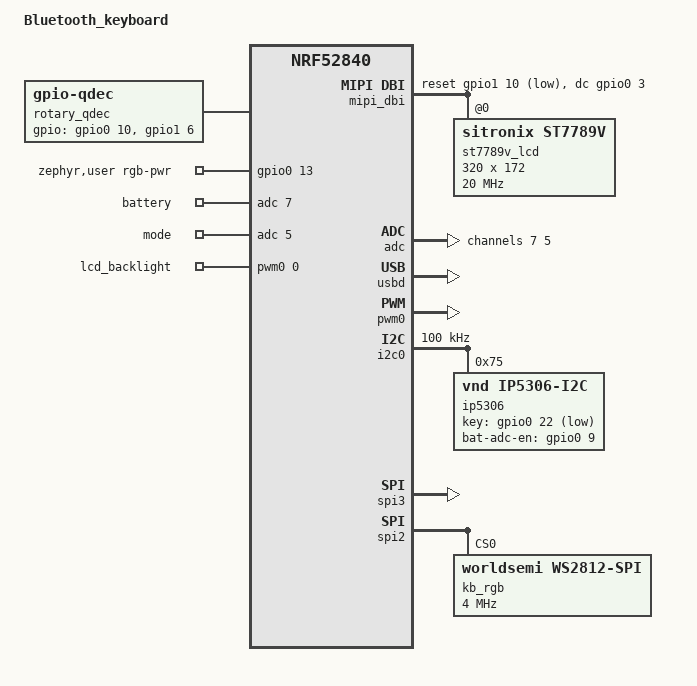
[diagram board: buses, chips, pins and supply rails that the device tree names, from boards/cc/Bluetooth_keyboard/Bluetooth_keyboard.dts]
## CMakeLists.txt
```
cmake_minimum_required(VERSION 3.20.0)
find_package(Zephyr REQUIRED HINTS $ENV{ZEPHYR_BASE})

project(Bluetooth_keyboard)

zephyr_include_directories(${CMAKE_CURRENT_SOURCE_DIR})

target_sources(app PRIVATE
    src/ble_hid_module.c
    src/ble_host_action_service.c
    src/custom_action_layer.c
    src/display_assets.c
    src/display_module.c
    src/key_matrix.c
    src/keymap.c
    src/main.c
    src/mode_event.c
    src/mode_switch.c
    src/power_trace.c
    src/power_module.c
    src/rgb_led.c
    src/rotary.c
    src/transport_manager.c
    src/usb_hid_module.c
    src/usb_host_proto.c
)
```

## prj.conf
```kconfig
CONFIG_GPIO=y
CONFIG_INPUT=y
CONFIG_INPUT_GPIO_QDEC=y
CONFIG_I2C=y
CONFIG_ADC=y
CONFIG_SPI=y
CONFIG_PWM=y
CONFIG_LED_STRIP=y
CONFIG_DISPLAY=y
CONFIG_ST7789V=y
CONFIG_WS2812_STRIP_SPI=y
CONFIG_BT=y
CONFIG_BT_ATT_TX_COUNT=5
CONFIG_BT_AUTO_PHY_UPDATE=n
CONFIG_BT_BAS=y
CONFIG_BT_CONN_CTX=y
CONFIG_BT_DEVICE_APPEARANCE=961
CONFIG_BT_DEVICE_NAME="SGG Keyboard"
CONFIG_BT_DIS=y
CONFIG_BT_DIS_MANUF_NAME=y
CONFIG_BT_DIS_MANUF_NAME_STR="SGG"
CONFIG_BT_DIS_MODEL_NUMBER=y
CONFIG_BT_DIS_MODEL_NUMBER_STR="Bluetooth Keyboard"
CONFIG_BT_FILTER_ACCEPT_LIST=y
CONFIG_BT_GATT_AUTO_SEC_REQ=n
CONFIG_BT_GATT_CHRC_POOL_SIZE=20
CONFIG_BT_GATT_UUID16_POOL_SIZE=40
CONFIG_BT_HIDS=y
CONFIG_BT_HIDS_DEFAULT_PERM_RW_ENCRYPT=y
CONFIG_BT_HIDS_FEATURE_REP_MAX=0
CONFIG_BT_HIDS_INPUT_REP_MAX=2
CONFIG_BT_HIDS_MAX_CLIENT_COUNT=1
CONFIG_BT_HIDS_OUTPUT_REP_MAX=1
CONFIG_BT_MAX_CONN=1
CONFIG_BT_MAX_PAIRED=1
CONFIG_BT_PERIPHERAL=y
CONFIG_BT_SETTINGS=y
CONFIG_BT_SMP=y
CONFIG_BT_ADV_PROV=y
CONFIG_BT_ADV_PROV_SWIFT_PAIR=y
CONFIG_SERIAL=y
CONFIG_UART_INTERRUPT_DRIVEN=y
CONFIG_UART_LINE_CTRL=y
CONFIG_USB_DEVICE_STACK_NEXT=y
CONFIG_USBD_CDC_ACM_CLASS=y
CONFIG_CDC_ACM_SERIAL_INITIALIZE_AT_BOOT=n
CONFIG_USBD_HID_SUPPORT=y
CONFIG_CONSOLE=y
CONFIG_PRINTK=y
CONFIG_LOG=y
CONFIG_LOG_BACKEND_RTT=y
CONFIG_USE_SEGGER_RTT=y
CONFIG_RTT_CONSOLE=y
CONFIG_UART_CONSOLE=n
CONFIG_REBOOT=y
CONFIG_HEAP_MEM_POOL_SIZE=2048
CONFIG_FLASH=y
CONFIG_FLASH_MAP=y
CONFIG_FLASH_PAGE_LAYOUT=y
CONFIG_MAIN_STACK_SIZE=4096
CONFIG_NVS=y
CONFIG_APP_EVENT_MANAGER=y
CONFIG_APP_EVENT_MANAGER_SHOW_EVENTS=n
CONFIG_CAF=y
CONFIG_CAF_BUTTON_EVENTS=y
CONFIG_CAF_KEEP_ALIVE_EVENTS=y
CONFIG_CAF_MODULE_STATE_EVENTS=y
CONFIG_CAF_PM_EVENTS=y
CONFIG_CAF_POWER_MANAGER=y
CONFIG_CAF_POWER_MANAGER_TIMEOUT=60
CONFIG_CAF_POWER_MANAGER_STAY_ON=y
CONFIG_SETTINGS=y
CONFIG_SETTINGS_NVS=y
CONFIG_SYSTEM_WORKQUEUE_STACK_SIZE=3072
CONFIG_USBD_CDC_ACM_LOG_LEVEL_OFF=y
```

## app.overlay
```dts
/ {
	hid_dev_0: hid_dev_0 {
		compatible = "zephyr,hid-device";
		label = "HID0";
		protocol-code = "keyboard";
		in-report-size = <16>;
		in-polling-period-us = <1000>;
	};

	kbd_matrix: kbd-matrix {
		compatible = "gpio-kbd-matrix";
		status = "disabled";
		row-gpios = <&gpio0 15 (GPIO_PULL_UP | GPIO_ACTIVE_LOW)>,
			    <&gpio0 7 (GPIO_PULL_UP | GPIO_ACTIVE_LOW)>,
			    <&gpio0 12 (GPIO_PULL_UP | GPIO_ACTIVE_LOW)>,
			    <&gpio0 4 (GPIO_PULL_UP | GPIO_ACTIVE_LOW)>,
			    <&gpio1 9 (GPIO_PULL_UP | GPIO_ACTIVE_LOW)>,
			    <&gpio0 8 (GPIO_PULL_UP | GPIO_ACTIVE_LOW)>;
		col-gpios = <&gpio0 5 GPIO_ACTIVE_LOW>,
			    <&gpio0 6 GPIO_ACTIVE_LOW>,
			    <&gpio0 26 GPIO_ACTIVE_LOW>,
			    <&gpio0 30 GPIO_ACTIVE_LOW>;
		debounce-down-ms = <5>;
		debounce-up-ms = <10>;
		poll-period-ms = <5>;
		poll-timeout-ms = <0>;
		idle-mode = "scan";
		settle-time-us = <50>;
	};
};

&usbd {
	cdc_acm_uart0: cdc_acm_uart0 {
		compatible = "zephyr,cdc-acm-uart";
		label = "SGG Host Protocol";
	};
};
```

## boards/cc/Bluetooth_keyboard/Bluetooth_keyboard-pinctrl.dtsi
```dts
&pinctrl {
	i2c0_default: i2c0_default {
		group1 {
			psels = <NRF_PSEL(TWIM_SDA, 1, 0)>,
				<NRF_PSEL(TWIM_SCL, 0, 24)>;
		};
	};

	i2c0_sleep: i2c0_sleep {
		group1 {
			psels = <NRF_PSEL(TWIM_SDA, 1, 0)>,
				<NRF_PSEL(TWIM_SCL, 0, 24)>;
			low-power-enable;
		};
	};

	spi3_default: spi3_default {
		group1 {
			psels = <NRF_PSEL(SPIM_SCK, 1, 13)>,
				<NRF_PSEL(SPIM_MOSI, 0, 28)>;
		};
	};

	spi3_sleep: spi3_sleep {
		group1 {
			psels = <NRF_PSEL(SPIM_SCK, 1, 13)>,
				<NRF_PSEL(SPIM_MOSI, 0, 28)>;
			low-power-enable;
		};
	};

	spi2_rgb_default: spi2_rgb_default {
		group1 {
			psels = <NRF_PSEL(SPIM_SCK, 1, 15)>,
				<NRF_PSEL(SPIM_MOSI, 0, 20)>;
		};
	};

	spi2_rgb_sleep: spi2_rgb_sleep {
		group1 {
			psels = <NRF_PSEL(SPIM_SCK, 1, 15)>,
				<NRF_PSEL(SPIM_MOSI, 0, 20)>;
			low-power-enable;
		};
	};

	pwm0_default: pwm0_default {
		group1 {
			psels = <NRF_PSEL(PWM_OUT0, 1, 11)>;
		};
	};

	pwm0_sleep: pwm0_sleep {
		group1 {
			psels = <NRF_PSEL(PWM_OUT0, 1, 11)>;
			low-power-enable;
		};
	};
};
```

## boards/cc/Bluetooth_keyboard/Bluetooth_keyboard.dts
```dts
/dts-v1/;
#include <nordic/nrf52840_qiaa.dtsi>
#include "Bluetooth_keyboard-pinctrl.dtsi"
#include <zephyr/dt-bindings/input/input-event-codes.h>
#include <zephyr/dt-bindings/adc/adc.h>
#include <zephyr/dt-bindings/led/led.h>
#include <zephyr/dt-bindings/mipi_dbi/mipi_dbi.h>
#include <zephyr/dt-bindings/pwm/pwm.h>

/ {
	model = "Bluetooth_keyboard";
	compatible = "cc,Bluetooth-keyboard";

	chosen {
		zephyr,sram = &sram0;
		zephyr,flash = &flash0;
		zephyr,code-partition = &slot0_partition;
		zephyr,display = &st7789v_lcd;
		zephyr,led-strip = &kb_rgb;
	};

	rotary_qdec: rotary-qdec {
		compatible = "gpio-qdec";
		gpios = <&gpio0 10 (GPIO_PULL_UP | GPIO_ACTIVE_HIGH)>,
			<&gpio1 6 (GPIO_PULL_UP | GPIO_ACTIVE_HIGH)>;
		steps-per-period = <2>;
		zephyr,axis = <INPUT_REL_WHEEL>;
		sample-time-us = <2000>;
		idle-poll-time-us = <2000>;
		idle-timeout-ms = <200>;
		status = "okay";
	};

	zephyr,user {
		io-channels = <&adc 7>, <&adc 5>;
		io-channel-names = "battery", "mode";
		pwms = <&pwm0 0 PWM_USEC(50) PWM_POLARITY_INVERTED>;
		pwm-names = "lcd_backlight";
		rgb-pwr-gpios = <&gpio0 13 GPIO_ACTIVE_HIGH>;
	};

	mipi_dbi {
		compatible = "zephyr,mipi-dbi-spi";
		spi-dev = <&spi3>;
		dc-gpios = <&gpio0 3 GPIO_ACTIVE_HIGH>;
		reset-gpios = <&gpio1 10 GPIO_ACTIVE_LOW>;
		write-only;
		#address-cells = <1>;
		#size-cells = <0>;

		st7789v_lcd: st7789v@0 {
			compatible = "sitronix,st7789v";
			reg = <0>;
			mipi-max-frequency = <DT_FREQ_M(20)>;
			width = <320>;
			height = <172>;
			x-offset = <0>;
			y-offset = <34>;
			vcom = <0x2b>;
			gctrl = <0x35>;
			vrhs = <0x0f>;
			vdvs = <0x20>;
			mdac = <0xa0>;
			gamma = <0x01>;
			colmod = <0x55>;
			lcm = <0x2c>;
			porch-param = [0c 0c 00 33 33];
			cmd2en-param = [5a 69 02 01];
			pwctrl1-param = [52 a1];
			pvgam-param = [d0 00 02 07 0b 1a 31 54 40 29 12 12 12 17];
			nvgam-param = [d0 00 02 07 05 15 2d 44 44 1c 18 16 1c 1d];
			ram-param = [00 f8];
			rgb-param = [cd 08 14];
			ready-time-ms = <120>;
			mipi-mode = "MIPI_DBI_MODE_SPI_4WIRE";
		};
	};
};

&uicr {
	nfct-pins-as-gpios;
};

&flash0 {
	partitions {
		compatible = "fixed-partitions";
		#address-cells = <1>;
		#size-cells = <1>;

		boot_partition: partition@0 {
			label = "mcuboot";
			reg = <0x00000000 DT_SIZE_K(48)>;
		};

		slot0_partition: partition@c000 {
			label = "image-0";
			reg = <0x0000c000 DT_SIZE_K(472)>;
		};

		slot1_partition: partition@82000 {
			label = "image-1";
			reg = <0x00082000 DT_SIZE_K(472)>;
		};

		storage_partition: partition@f8000 {
			label = "storage";
			reg = <0x000f8000 DT_SIZE_K(32)>;
		};
	};
};

&gpiote {
	status = "okay";
};

&adc {
	#address-cells = <1>;
	#size-cells = <0>;
	status = "okay";

	channel@7 {
		reg = <7>;
		zephyr,gain = "ADC_GAIN_1_6";
		zephyr,reference = "ADC_REF_INTERNAL";
		zephyr,acquisition-time = <ADC_ACQ_TIME(ADC_ACQ_TIME_MICROSECONDS, 40)>;
		zephyr,input-positive = <NRF_SAADC_AIN7>;
		zephyr,resolution = <12>;
		zephyr,oversampling = <4>;
	};

	channel@5 {
		reg = <5>;
		zephyr,gain = "ADC_GAIN_1_6";
		zephyr,reference = "ADC_REF_INTERNAL";
		zephyr,acquisition-time = <ADC_ACQ_TIME(ADC_ACQ_TIME_MICROSECONDS, 40)>;
		zephyr,input-positive = <NRF_SAADC_AIN5>;
		zephyr,resolution = <12>;
		zephyr,oversampling = <4>;
	};
};

&gpio0 {
	status = "okay";
};

&gpio1 {
	status = "okay";
};

&usbd {
	status = "okay";
};

&pwm0 {
	status = "okay";
	pinctrl-0 = <&pwm0_default>;
	pinctrl-1 = <&pwm0_sleep>;
	pinctrl-names = "default", "sleep";
};

&i2c0 {
	compatible = "nordic,nrf-twim";
	status = "okay";
	clock-frequency = <I2C_BITRATE_STANDARD>;
	pinctrl-0 = <&i2c0_default>;
	pinctrl-1 = <&i2c0_sleep>;
	pinctrl-names = "default", "sleep";

	ip5306: ip5306@75 {
		compatible = "vnd,ip5306-i2c";
		reg = <0x75>;
		key-gpios = <&gpio0 22 GPIO_ACTIVE_LOW>;
		bat-adc-en-gpios = <&gpio0 9 GPIO_ACTIVE_HIGH>;
		status = "okay";
	};
};

&spi3 {
	status = "okay";
	pinctrl-0 = <&spi3_default>;
	pinctrl-1 = <&spi3_sleep>;
	pinctrl-names = "default", "sleep";
	cs-gpios = <&gpio0 2 GPIO_ACTIVE_LOW>;
};

&spi2 {
	status = "okay";
	pinctrl-0 = <&spi2_rgb_default>;
	pinctrl-1 = <&spi2_rgb_sleep>;
	pinctrl-names = "default", "sleep";

	kb_rgb: ws2812@0 {
		compatible = "worldsemi,ws2812-spi";
		reg = <0>;
		spi-max-frequency = <4000000>;
		chain-length = <17>;
		color-mapping = <LED_COLOR_ID_GREEN
				 LED_COLOR_ID_RED
				 LED_COLOR_ID_BLUE>;
		spi-one-frame = <0x70>;
		spi-zero-frame = <0x40>;
		reset-delay = <300>;
	};
};
```

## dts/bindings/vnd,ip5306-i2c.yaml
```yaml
description: Injoinic IP5306 I2C power manager helper node

compatible: "vnd,ip5306-i2c"

include: i2c-device.yaml

properties:
  key-gpios:
    type: phandle-array
    required: true
    description: GPIO used to simulate the active-low KEY pulse.

  bat-adc-en-gpios:
    type: phandle-array
    required: true
    description: GPIO used to enable the battery ADC divider.
```

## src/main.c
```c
#include <app_event_manager.h>

#define MODULE main
#include <caf/events/module_state_event.h>

#include <zephyr/sys/printk.h>

#include "key_matrix.h"
#include "ble_hid_module.h"
#include "ble_host_action_service.h"
#include "custom_action_layer.h"
#include "display_module.h"
#include "mode_switch.h"
#include "power_module.h"
#include "rgb_led.h"
#include "rotary.h"
#include "transport_manager.h"
#include "usb_hid_module.h"
#include "usb_host_proto.h"

int main(void)
{
	int ret;

	if (app_event_manager_init()) {
		printk("Application Event Manager init failed\n");
		return -1;
	}

	ret = rotary_init();
	if (ret != 0) {
		printk("rotary init failed: %d\n", ret);
		return ret;
	}

	ret = power_module_init();
	if (ret != 0) {
		printk("power module init failed: %d\n", ret);
		return ret;
	}

	ret = rgb_led_init();
	if (ret != 0) {
		printk("rgb led init failed: %d\n", ret);
		return ret;
	}

	ret = usb_hid_module_init();
	if (ret != 0) {
		printk("usb hid init failed: %d\n", ret);
		return ret;
	}

	ret = usb_host_proto_init();
	if (ret != 0) {
		printk("usb host proto init failed: %d\n", ret);
		return ret;
	}

	ret = ble_hid_module_init();
	if (ret != 0) {
		printk("ble hid init failed: %d\n", ret);
		return ret;
	}

	ret = ble_host_action_service_init();
	if (ret != 0) {
		printk("ble host action service init failed: %d\n", ret);
		return ret;
	}

	ret = transport_manager_init();
	if (ret != 0) {
		printk("transport manager init failed: %d\n", ret);
		return ret;
	}

	ret = custom_action_layer_init();
	if (ret != 0) {
		printk("custom action layer init failed: %d\n", ret);
		return ret;
	}

	ret = display_module_init();
	if (ret != 0) {
		printk("display module init failed: %d\n", ret);
	}

	ret = mode_switch_init();
	if (ret != 0) {
		printk("mode switch init failed: %d\n", ret);
		return ret;
	}

	ret = key_matrix_init();
	if (ret != 0) {
		printk("key matrix init failed: %d\n", ret);
		return ret;
	}

	printk("keyboard app ready\n");
	module_set_state(MODULE_STATE_READY);

	return 0;
}
```

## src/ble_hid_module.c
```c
#include <stdbool.h>
#include <stdint.h>
#include <string.h>

#include <app_event_manager.h>
#include <caf/events/button_event.h>

#define MODULE ble_hid_module
#include <caf/events/module_state_event.h>

#include <zephyr/bluetooth/bluetooth.h>
#include <zephyr/bluetooth/conn.h>
#include <zephyr/bluetooth/gatt.h>
#include <zephyr/bluetooth/hci.h>
#include <zephyr/bluetooth/uuid.h>
#include <zephyr/bluetooth/services/bas.h>
#include <zephyr/kernel.h>
#include <zephyr/settings/settings.h>
#include <zephyr/sys/byteorder.h>
#include <zephyr/sys/printk.h>
#include <bluetooth/adv_prov.h>
#include <bluetooth/adv_prov/swift_pair.h>
#include <bluetooth/services/hids.h>

#include "ble_hid_module.h"
#include "keymap.h"

#define DEVICE_NAME     CONFIG_BT_DEVICE_NAME
#define DEVICE_NAME_LEN (sizeof(DEVICE_NAME) - 1)

#define BASE_USB_HID_SPEC_VERSION 0x0101

#define BLE_HID_KEYBOARD_REPORT_ID 1
#define BLE_HID_CONSUMER_REPORT_ID 2

#define BLE_HID_BOOT_KEYBOARD_REPORT_SIZE 8
#define BLE_HID_CONSUMER_REPORT_SIZE 2

#define BLE_HID_INPUT_REP_IDX_KEYBOARD 0
#define BLE_HID_INPUT_REP_IDX_CONSUMER 1

#define BLE_ADV_FAST_INT_MIN BT_GAP_ADV_FAST_INT_MIN_2
#define BLE_ADV_FAST_INT_MAX BT_GAP_ADV_FAST_INT_MAX_2

enum ble_keyboard_report_index {
	BLE_KBD_MODIFIER_IDX = 0,
	BLE_KBD_RESERVED_IDX,
	BLE_KBD_KEY0_IDX,
	BLE_KBD_KEY1_IDX,
	BLE_KBD_KEY2_IDX,
	BLE_KBD_KEY3_IDX,
	BLE_KBD_KEY4_IDX,
	BLE_KBD_KEY5_IDX,
	BLE_KBD_REPORT_SIZE,
};

BT_HIDS_DEF(hids_obj,
	    1,
	    BLE_HID_BOOT_KEYBOARD_REPORT_SIZE,
	    BLE_HID_CONSUMER_REPORT_SIZE);

static const uint8_t hid_report_desc[] = {
	0x05, 0x01,
	0x09, 0x06,
	0xA1, 0x01,
	0x85, BLE_HID_KEYBOARD_REPORT_ID,
	0x05, 0x07,
	0x19, 0xE0,
	0x29, 0xE7,
	0x15, 0x00,
	0x25, 0x01,
	0x75, 0x01,
	0x95, 0x08,
	0x81, 0x02,
	0x95, 0x01,
	0x75, 0x08,
	0x81, 0x01,
	0x95, 0x05,
	0x75, 0x01,
	0x05, 0x08,
	0x19, 0x01,
	0x29, 0x05,
	0x91, 0x02,
	0x95, 0x01,
	0x75, 0x03,
	0x91, 0x01,
	0x95, 0x06,
	0x75, 0x08,
	0x15, 0x00,
	0x25, 0x65,
	0x05, 0x07,
	0x19, 0x00,
	0x29, 0x65,
	0x81, 0x00,
	0xC0,
	0x05, 0x0C,
	0x09, 0x01,
	0xA1, 0x01,
	0x85, BLE_HID_CONSUMER_REPORT_ID,
	0x15, 0x00,
	0x26, 0xFF, 0x03,
	0x19, 0x00,
	0x2A, 0xFF, 0x03,
	0x75, 0x10,
	0x95, 0x01,
	0x81, 0x00,
	0xC0,
};

static const struct bt_data adv_flags[] = {
	BT_DATA_BYTES(BT_DATA_FLAGS, (BT_LE_AD_GENERAL | BT_LE_AD_NO_BREDR)),
	BT_DATA_BYTES(BT_DATA_GAP_APPEARANCE,
		      (CONFIG_BT_DEVICE_APPEARANCE >> 0) & 0xFF,
		      (CONFIG_BT_DEVICE_APPEARANCE >> 8) & 0xFF),
	BT_DATA_BYTES(BT_DATA_UUID16_ALL,
		      BT_UUID_16_ENCODE(BT_UUID_HIDS_VAL),
		      BT_UUID_16_ENCODE(BT_UUID_BAS_VAL)),
};

static struct bt_conn *active_conn;
static bool active_conn_boot_mode;
static bool active_conn_peer_bonded;
static uint8_t keyboard_report[BLE_KBD_REPORT_SIZE];
static bool ble_ready;
static bool ble_mode_enabled;
static bool advertising;
static bool settings_loaded;
static bool bt_ready_initialized;

static void advertising_update(void);

static void disconnect_active_conn(void)
{
	if (active_conn == NULL) {
		return;
	}

	int err = bt_conn_disconnect(active_conn, BT_HCI_ERR_REMOTE_USER_TERM_CONN);
	if ((err != 0) && (err != -ENOTCONN)) {
		printk("ble hid disconnect failed: %d\n", err);
	}
}

static void bond_count_cb(const struct bt_bond_info *info, void *user_data)
{
	size_t *count = user_data;

	ARG_UNUSED(info);

	(*count)++;
}

static void accept_list_add(const struct bt_bond_info *info, void *user_data)
{
	size_t *count = user_data;
	int err;

	err = bt_le_filter_accept_list_add(&info->addr);
	if ((err != 0) && (err != -EALREADY)) {
		char addr[BT_ADDR_LE_STR_LEN];

		bt_addr_le_to_str(&info->addr, addr, sizeof(addr));
		printk("ble accept list add failed: %s err=%d\n", addr, err);
		return;
	}

	(*count)++;
}

static size_t bonded_peer_count(void)
{
	size_t count = 0;

	bt_foreach_bond(BT_ID_DEFAULT, bond_count_cb, &count);
	return count;
}

struct bond_match_ctx {
	const bt_addr_le_t *addr;
	bool found;
};

static void bond_match_cb(const struct bt_bond_info *info, void *user_data)
{
	struct bond_match_ctx *ctx = user_data;

	if (!ctx->found && (bt_addr_le_cmp(&info->addr, ctx->addr) == 0)) {
		ctx->found = true;
	}
}

static bool peer_is_bonded(const bt_addr_le_t *addr)
{
	struct bond_match_ctx ctx = {
		.addr = addr,
		.found = false,
	};

	bt_foreach_bond(BT_ID_DEFAULT, bond_match_cb, &ctx);
	return ctx.found;
}

static int build_adv_payload(struct bt_data *ad, size_t *ad_len,
			     struct bt_data *sd, size_t *sd_len,
			     bool pairing, bool in_grace_period)
{
	size_t local_ad_len = 0;
	size_t local_sd_len = 0;
	struct bt_le_adv_prov_adv_state state = {
		.pairing_mode = pairing,
		.in_grace_period = in_grace_period,
		.rpa_rotated = false,
		.new_adv_session = true,
		.adv_handle = 0,
	};
	struct bt_le_adv_prov_feedback feedback = { 0 };
	int err;

	for (size_t i = 0; i < ARRAY_SIZE(adv_flags); i++) {
		ad[local_ad_len++] = adv_flags[i];
	}

	if (IS_ENABLED(CONFIG_BT_ADV_PROV)) {
		size_t prov_len = bt_le_adv_prov_get_ad_prov_cnt();
		size_t sd_prov_len = bt_le_adv_prov_get_sd_prov_cnt();

		if (prov_len > 0) {
			err = bt_le_adv_prov_get_ad(&ad[local_ad_len], &prov_len, &state,
						      &feedback);
			if (err != 0) {
				return err;
			}

			local_ad_len += prov_len;
		}

		if (sd_prov_len > 0) {
			err = bt_le_adv_prov_get_sd(sd, &sd_prov_len, &state, &feedback);
			if (err != 0) {
				return err;
			}

			local_sd_len += sd_prov_len;
		}
	}

	sd[local_sd_len++] =
		(struct bt_data)BT_DATA(BT_DATA_NAME_COMPLETE, DEVICE_NAME,
					DEVICE_NAME_LEN);

	*ad_len = local_ad_len;
	*sd_len = local_sd_len;

	return 0;
}

static void advertising_stop(void)
{
	int err;

	if (!advertising) {
		return;
	}

	err = bt_le_adv_stop();
	if ((err != 0) && (err != -EALREADY)) {
		printk("ble adv stop failed: %d\n", err);
		return;
	}

	advertising = false;
}

static void advertising_start(bool pairing)
{
	struct bt_data ad[8];
	struct bt_data sd[8];
	size_t ad_len = 0;
	size_t sd_len = 0;
	struct bt_le_adv_param adv_param = {
		.id = BT_ID_DEFAULT,
		.sid = 0,
		.secondary_max_skip = 0,
		.options = BT_LE_ADV_OPT_CONN,
		.interval_min = BLE_ADV_FAST_INT_MIN,
		.interval_max = BLE_ADV_FAST_INT_MAX,
		.peer = NULL,
	};
	size_t bond_count;
	int err;

	if (!ble_mode_enabled || !ble_ready || (active_conn != NULL)) {
		return;
	}

	advertising_stop();

	if (IS_ENABLED(CONFIG_BT_ADV_PROV_SWIFT_PAIR)) {
		bt_le_adv_prov_swift_pair_enable(pairing);
	}

	if (IS_ENABLED(CONFIG_BT_SETTINGS)) {
		err = bt_le_filter_accept_list_clear();
		if ((err != 0) && (err != -EALREADY)) {
			printk("ble accept list clear failed: %d\n", err);
		}
	}

	bond_count = 0;
	if (!pairing) {
		if (IS_ENABLED(CONFIG_BT_SETTINGS)) {
			err = bt_le_filter_accept_list_clear();
			if ((err != 0) && (err != -EALREADY)) {
				printk("ble accept list clear failed: %d\n", err);
			}

			bt_foreach_bond(BT_ID_DEFAULT, accept_list_add, &bond_count);
		} else {
			bond_count = bonded_peer_count();
		}

		if (bond_count > 0U) {
			adv_param.options |=
				BT_LE_ADV_OPT_FILTER_CONN | BT_LE_ADV_OPT_FILTER_SCAN_REQ;
		}
	}

	err = build_adv_payload(ad, &ad_len, sd, &sd_len, pairing, false);
	if (err != 0) {
		printk("ble adv payload build failed: %d\n", err);
		return;
	}

	err = bt_le_adv_start(&adv_param, ad, ad_len, sd, sd_len);
	if (err != 0) {
		printk("ble adv start failed: %d\n", err);
		return;
	}

	advertising = true;
	printk("ble advertising: %s bond_count=%u\n",
	       pairing ? "pairing" : "reconnect", (unsigned int)bond_count);
}

static void advertising_update(void)
{
	bool have_bond = false;

	if (!ble_mode_enabled || !ble_ready) {
		advertising_stop();
		return;
	}

	if (active_conn != NULL) {
		advertising_stop();
		return;
	}

	if (IS_ENABLED(CONFIG_BT_SETTINGS)) {
		have_bond = (bonded_peer_count() > 0U);
	}

	advertising_start(!have_bond);
}

static void keyboard_report_clear_usage(uint8_t usage)
{
	for (size_t i = BLE_KBD_KEY0_IDX; i < BLE_KBD_REPORT_SIZE; i++) {
		if (keyboard_report[i] == usage) {
			keyboard_report[i] = 0;
		}
	}
}

static int keyboard_report_set_usage(uint8_t usage)
{
	for (size_t i = BLE_KBD_KEY0_IDX; i < BLE_KBD_REPORT_SIZE; i++) {
		if (keyboard_report[i] == usage) {
			return 0;
		}
	}

	for (size_t i = BLE_KBD_KEY0_IDX; i < BLE_KBD_REPORT_SIZE; i++) {
		if (keyboard_report[i] == 0) {
			keyboard_report[i] = usage;
			return 0;
		}
	}

	return -ENOBUFS;
}

static int send_keyboard_report(void)
{
	if ((active_conn == NULL) || !ble_mode_enabled) {
		return -EAGAIN;
	}

	if (active_conn_boot_mode) {
		return bt_hids_boot_kb_inp_rep_send(&hids_obj, active_conn,
						    keyboard_report,
						    sizeof(keyboard_report), NULL);
	}

	return bt_hids_inp_rep_send(&hids_obj, active_conn,
				    BLE_HID_INPUT_REP_IDX_KEYBOARD,
				    keyboard_report, sizeof(keyboard_report), NULL);
}

static int send_consumer_report(uint16_t usage)
{
	uint8_t report[BLE_HID_CONSUMER_REPORT_SIZE];

	if ((active_conn == NULL) || !ble_mode_enabled) {
		return -EAGAIN;
	}

	sys_put_le16(usage, report);
	return bt_hids_inp_rep_send(&hids_obj, active_conn,
				    BLE_HID_INPUT_REP_IDX_CONSUMER,
				    report, sizeof(report), NULL);
}

static int send_consumer_usage(uint16_t usage)
{
	int err;

	err = send_consumer_report(usage);
	if (err != 0) {
		return err;
	}

	return send_consumer_report(0);
}

static void handle_button_event(const struct button_event *event)
{
	const struct keymap_hid_entry *map = keymap_hid_get(event->key_id);
	int err;

	if (!ble_mode_enabled || (active_conn == NULL) || (map == NULL)) {
		return;
	}

	if (map->type == KEYMAP_HID_TYPE_CONSUMER) {
		if (event->pressed) {
			err = send_consumer_usage(map->usage);
			if (err != 0) {
				printk("ble consumer send failed: %d\n", err);
			}
		}
		return;
	}

	if (map->type != KEYMAP_HID_TYPE_KEYBOARD) {
		return;
	}

	if (event->pressed) {
		err = keyboard_report_set_usage((uint8_t)map->usage);
		if (err != 0) {
			printk("ble keyboard full: key_id=%u\n", event->key_id);
			return;
		}
	} else {
		keyboard_report_clear_usage((uint8_t)map->usage);
	}

	err = send_keyboard_report();
	if (err != 0) {
		printk("ble keyboard send failed: %d\n", err);
	}
}

static void connected(struct bt_conn *conn, uint8_t err)
{
	char addr[BT_ADDR_LE_STR_LEN];
	int hids_err;

	bt_addr_le_to_str(bt_conn_get_dst(conn), addr, sizeof(addr));

	if (err != 0) {
		printk("ble connected failed: %s err=0x%02x %s\n",
		       addr, err, bt_hci_err_to_str(err));
		advertising_update();
		return;
	}

	if (active_conn != NULL) {
		printk("ble extra connection refused: %s\n", addr);
		(void)bt_conn_disconnect(conn, BT_HCI_ERR_REMOTE_USER_TERM_CONN);
		return;
	}

	active_conn = bt_conn_ref(conn);
	active_conn_boot_mode = false;
	active_conn_peer_bonded = peer_is_bonded(bt_conn_get_dst(conn));
	advertising = false;

	hids_err = bt_hids_connected(&hids_obj, conn);
	if (hids_err != 0) {
		printk("ble hids connected notify failed: %d\n", hids_err);
	}

	/*
	 * For a brand new peer, let the host initiate pairing when it touches
	 * encrypted HIDS attributes. This avoids immediately taking the
	 * security-request path that commonly fails with PIN_OR_KEY_MISSING
	 * when the host still has a stale bond from an older firmware session.
	 */
	if (active_conn_peer_bonded) {
		hids_err = bt_conn_set_security(conn, BT_SECURITY_L2);
		if ((hids_err != 0) && (hids_err != -EALREADY)) {
			printk("ble security request failed: %d\n", hids_err);
		}
	}

	printk("ble connected: %s%s\n", addr,
	       active_conn_peer_bonded ? "" : " (unbonded)");
}

static void disconnected(struct bt_conn *conn, uint8_t reason)
{
	char addr[BT_ADDR_LE_STR_LEN];
	int hids_err;

	bt_addr_le_to_str(bt_conn_get_dst(conn), addr, sizeof(addr));

	hids_err = bt_hids_disconnected(&hids_obj, conn);
	if (hids_err != 0) {
		printk("ble hids disconnected notify failed: %d\n", hids_err);
	}

	if (active_conn == conn) {
		bt_conn_unref(active_conn);
		active_conn = NULL;
		active_conn_boot_mode = false;
		active_conn_peer_bonded = false;
	}

	memset(keyboard_report, 0, sizeof(keyboard_report));
	printk("ble disconnected: %s reason=0x%02x %s\n", addr, reason,
	       bt_hci_err_to_str(reason));

	advertising_update();
}

static void security_changed(struct bt_conn *conn, bt_security_t level,
			     enum bt_security_err err)
{
	char addr[BT_ADDR_LE_STR_LEN];

	bt_addr_le_to_str(bt_conn_get_dst(conn), addr, sizeof(addr));

	if (err == 0) {
		if (conn == active_conn) {
			active_conn_peer_bonded = true;
		}
		printk("ble security: %s level=%u\n", addr, level);
	} else {
		printk("ble security failed: %s level=%u err=%d %s\n", addr, level,
		       err, bt_security_err_to_str(err));

		if (err == BT_SECURITY_ERR_PIN_OR_KEY_MISSING) {
			bool peer_bonded = peer_is_bonded(bt_conn_get_dst(conn));

			if (peer_bonded) {
				int unpair_err = bt_unpair(BT_ID_DEFAULT,
						       bt_conn_get_dst(conn));

				if (unpair_err == 0) {
					if (conn == active_conn) {
						active_conn_peer_bonded = false;
					}
					printk("ble cleared stale local bond: %s\n", addr);
				} else {
					printk("ble clear local bond failed: %s err=%d\n",
					       addr, unpair_err);
				}
			} else {
				printk("ble pairing hint: host may still have an old bond, "
				       "delete this device on the host and pair again\n");
			}
		}
	}
}

static void auth_cancel(struct bt_conn *conn)
{
	char addr[BT_ADDR_LE_STR_LEN];

	bt_addr_le_to_str(bt_conn_get_dst(conn), addr, sizeof(addr));
	printk("ble pairing cancelled: %s\n", addr);
}

static void pairing_complete(struct bt_conn *conn, bool bonded)
{
	char addr[BT_ADDR_LE_STR_LEN];

	bt_addr_le_to_str(bt_conn_get_dst(conn), addr, sizeof(addr));
	if (bonded && (conn == active_conn)) {
		active_conn_peer_bonded = true;
	}
	printk("ble pairing complete: %s bonded=%d\n", addr, bonded);
}

static void pairing_failed(struct bt_conn *conn, enum bt_security_err reason)
{
	char addr[BT_ADDR_LE_STR_LEN];

	bt_addr_le_to_str(bt_conn_get_dst(conn), addr, sizeof(addr));
	printk("ble pairing failed: %s reason=%d %s\n", addr, reason,
	       bt_security_err_to_str(reason));
}

static const struct bt_conn_auth_cb ble_auth_callbacks = {
	.cancel = auth_cancel,
};

static struct bt_conn_auth_info_cb ble_auth_info_callbacks = {
	.pairing_complete = pairing_complete,
	.pairing_failed = pairing_failed,
};

BT_CONN_CB_DEFINE(ble_conn_callbacks) = {
	.connected = connected,
	.disconnected = disconnected,
	.security_changed = security_changed,
};

static void keyboard_leds_output_report_handler(struct bt_hids_rep *rep,
						struct bt_conn *conn,
						bool write)
{
	ARG_UNUSED(rep);
	ARG_UNUSED(conn);
	ARG_UNUSED(write);
}

static void boot_keyboard_output_report_handler(struct bt_hids_rep *rep,
						struct bt_conn *conn,
						bool write)
{
	ARG_UNUSED(rep);
	ARG_UNUSED(conn);
	ARG_UNUSED(write);
}

static void hids_pm_evt_handler(enum bt_hids_pm_evt evt, struct bt_conn *conn)
{
	if (conn != active_conn) {
		return;
	}

	active_conn_boot_mode = (evt == BT_HIDS_PM_EVT_BOOT_MODE_ENTERED);
}

static int hids_init(void)
{
	struct bt_hids_init_param init = { 0 };
	struct bt_hids_inp_rep *input_report;
	struct bt_hids_outp_feat_rep *output_report;

	init.rep_map.data = hid_report_desc;
	init.rep_map.size = sizeof(hid_report_desc);
	init.info.bcd_hid = BASE_USB_HID_SPEC_VERSION;
	init.info.b_country_code = 0x00;
	init.info.flags = BT_HIDS_REMOTE_WAKE | BT_HIDS_NORMALLY_CONNECTABLE;

	input_report = &init.inp_rep_group_init.reports[0];
	input_report[BLE_HID_INPUT_REP_IDX_KEYBOARD].id = BLE_HID_KEYBOARD_REPORT_ID;
	input_report[BLE_HID_INPUT_REP_IDX_KEYBOARD].size =
		BLE_HID_BOOT_KEYBOARD_REPORT_SIZE;
	input_report[BLE_HID_INPUT_REP_IDX_CONSUMER].id = BLE_HID_CONSUMER_REPORT_ID;
	input_report[BLE_HID_INPUT_REP_IDX_CONSUMER].size =
		BLE_HID_CONSUMER_REPORT_SIZE;
	init.inp_rep_group_init.cnt = 2;

	output_report = &init.outp_rep_group_init.reports[0];
	output_report->id = BLE_HID_KEYBOARD_REPORT_ID;
	output_report->size = 1;
	output_report->handler = keyboard_leds_output_report_handler;
	init.outp_rep_group_init.cnt = 1;

	init.is_kb = true;
	init.boot_kb_outp_rep_handler = boot_keyboard_output_report_handler;
	init.pm_evt_handler = hids_pm_evt_handler;

	return bt_hids_init(&hids_obj, &init);
}

static int bt_stack_init(void)
{
	int err;

	if (bt_ready_initialized) {
		return 0;
	}

	err = bt_enable(NULL);
	if (err != 0) {
		return err;
	}

	if (IS_ENABLED(CONFIG_SETTINGS) && !settings_loaded) {
		err = settings_load();
		if (err != 0) {
			return err;
		}
		settings_loaded = true;
	}

	err = bt_conn_auth_cb_register(&ble_auth_callbacks);
	if (err != 0) {
		return err;
	}

	err = bt_conn_auth_info_cb_register(&ble_auth_info_callbacks);
	if (err != 0) {
		return err;
	}

	if (IS_ENABLED(CONFIG_BT_BAS)) {
		(void)bt_bas_set_battery_level(100);
	}

	err = hids_init();
	if (err != 0) {
		return err;
	}

	bt_ready_initialized = true;
	ble_ready = true;
	printk("ble hid ready\n");
	return 0;
}

int ble_hid_module_init(void)
{
	int err = bt_stack_init();

	if (err != 0) {
		return err;
	}

	module_set_state(MODULE_STATE_READY);
	return 0;
}

int ble_hid_module_set_mode(bool enabled)
{
	int err;

	err = bt_stack_init();
	if (err != 0) {
		return err;
	}

	ble_mode_enabled = enabled;

	if (!enabled) {
		advertising_stop();
		disconnect_active_conn();
		memset(keyboard_report, 0, sizeof(keyboard_report));
		active_conn_boot_mode = false;
		return 0;
	}

	advertising_update();
	return 0;
}

int ble_hid_module_release_all(void)
{
	int err = 0;

	memset(keyboard_report, 0, sizeof(keyboard_report));

	if ((active_conn != NULL) && ble_mode_enabled) {
		err = send_keyboard_report();
		if ((err != 0) && (err != -EAGAIN)) {
			printk("ble release keyboard failed: %d\n", err);
		}
	}

	if ((active_conn != NULL) && ble_mode_enabled) {
		err = send_consumer_report(0);
		if ((err != 0) && (err != -EAGAIN)) {
			printk("ble release consumer failed: %d\n", err);
		}
	}

	return 0;
}

bool ble_hid_module_is_enabled(void)
{
	return ble_mode_enabled;
}

bool ble_hid_module_is_ready(void)
{
	return ble_ready;
}

bool ble_hid_module_is_connected(void)
{
	return active_conn != NULL;
}

bool ble_hid_module_is_advertising(void)
{
	return advertising;
}

static bool app_event_handler(const struct app_event_header *aeh)
{
	if (is_button_event(aeh)) {
		handle_button_event(cast_button_event(aeh));
		return false;
	}

	return false;
}

APP_EVENT_LISTENER(MODULE, app_event_handler);
APP_EVENT_SUBSCRIBE(MODULE, button_event);
```

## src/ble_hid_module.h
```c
#ifndef BLE_HID_MODULE_H_
#define BLE_HID_MODULE_H_

#include <stdbool.h>

int ble_hid_module_init(void);
int ble_hid_module_set_mode(bool enabled);
int ble_hid_module_release_all(void);
bool ble_hid_module_is_enabled(void);
bool ble_hid_module_is_ready(void);
bool ble_hid_module_is_connected(void);
bool ble_hid_module_is_advertising(void);

#endif /* BLE_HID_MODULE_H_ */
```

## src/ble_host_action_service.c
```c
#include <errno.h>
#include <stdbool.h>
#include <stdint.h>

#include <zephyr/bluetooth/gatt.h>
#include <zephyr/bluetooth/uuid.h>
#include <zephyr/sys/printk.h>

#include "ble_host_action_service.h"

#define BLE_HOST_ACTION_SERVICE_UUID_VAL \
	BT_UUID_128_ENCODE(0x8b1f7d00, 0xc66d, 0x4f18, 0xb7d5, 0x4a8e2c1d9001)
#define BLE_HOST_ACTION_TRIGGER_UUID_VAL \
	BT_UUID_128_ENCODE(0x8b1f7d01, 0xc66d, 0x4f18, 0xb7d5, 0x4a8e2c1d9001)

#define BLE_HOST_ACTION_SERVICE_UUID BT_UUID_DECLARE_128(BLE_HOST_ACTION_SERVICE_UUID_VAL)
#define BLE_HOST_ACTION_TRIGGER_UUID BT_UUID_DECLARE_128(BLE_HOST_ACTION_TRIGGER_UUID_VAL)

#define BLE_HOST_ACTION_TRIGGER_ATTR_IDX 2

static bool ble_host_action_notify_enabled;
static uint8_t ble_host_action_last_trigger;

static ssize_t ble_host_action_read(struct bt_conn *conn,
				     const struct bt_gatt_attr *attr,
				     void *buf, uint16_t len, uint16_t offset)
{
	return bt_gatt_attr_read(conn, attr, buf, len, offset,
				 &ble_host_action_last_trigger,
				 sizeof(ble_host_action_last_trigger));
}

static void ble_host_action_cccd_changed(const struct bt_gatt_attr *attr,
					    uint16_t value)
{
	(void)attr;

	ble_host_action_notify_enabled = ((value & BT_GATT_CCC_NOTIFY) != 0U);
	printk("ble host action notify=%d\n", ble_host_action_notify_enabled);
}

BT_GATT_SERVICE_DEFINE(ble_host_action_svc,
	BT_GATT_PRIMARY_SERVICE(BLE_HOST_ACTION_SERVICE_UUID),
	BT_GATT_CHARACTERISTIC(BLE_HOST_ACTION_TRIGGER_UUID,
			       BT_GATT_CHRC_READ | BT_GATT_CHRC_NOTIFY,
			       BT_GATT_PERM_READ,
			       ble_host_action_read, NULL, NULL),
	BT_GATT_CCC(ble_host_action_cccd_changed,
		    BT_GATT_PERM_READ | BT_GATT_PERM_WRITE));

int ble_host_action_service_init(void)
{
	ble_host_action_notify_enabled = false;
	ble_host_action_last_trigger = 0U;
	printk("ble host action service ready\n");
	return 0;
}

bool ble_host_action_service_is_ready(void)
{
	return ble_host_action_notify_enabled;
}

int ble_host_action_service_send_trigger(uint8_t slot)
{
	if ((slot == 0U) || (slot > 9U)) {
		return -EINVAL;
	}

	if (!ble_host_action_notify_enabled) {
		return -EACCES;
	}

	ble_host_action_last_trigger = slot;
	return bt_gatt_notify(NULL,
			      &ble_host_action_svc.attrs[BLE_HOST_ACTION_TRIGGER_ATTR_IDX],
			      &ble_host_action_last_trigger,
			      sizeof(ble_host_action_last_trigger));
}
```

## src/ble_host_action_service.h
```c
#ifndef BLE_HOST_ACTION_SERVICE_H_
#define BLE_HOST_ACTION_SERVICE_H_

#include <stdbool.h>
#include <stdint.h>

int ble_host_action_service_init(void);
bool ble_host_action_service_is_ready(void);
int ble_host_action_service_send_trigger(uint8_t slot);

#endif /* BLE_HOST_ACTION_SERVICE_H_ */
```

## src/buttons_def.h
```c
#include <caf/gpio_pins.h>

/*
 * Included only by CAF buttons module.
 * This object makes multiple inclusion fail at link time.
 */
const struct {} buttons_def_include_once;

static const struct gpio_pin col[] = {
	{ .port = 0, .pin = 5 },
	{ .port = 0, .pin = 6 },
	{ .port = 0, .pin = 26 },
	{ .port = 0, .pin = 30 },
};

static const struct gpio_pin row[] = {
	{ .port = 0, .pin = 15 },
	{ .port = 0, .pin = 7 },
	{ .port = 0, .pin = 12 },
	{ .port = 0, .pin = 4 },
	{ .port = 1, .pin = 9 },
	{ .port = 0, .pin = 8 },
};
```

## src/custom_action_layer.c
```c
#include <errno.h>
#include <stdbool.h>
#include <stdint.h>

#include <app_event_manager.h>
#include <caf/events/button_event.h>

#include <zephyr/sys/printk.h>
#include <zephyr/sys/util.h>

#include "ble_hid_module.h"
#include "ble_host_action_service.h"
#include "custom_action_layer.h"
#include "mode_event.h"
#include "transport_manager.h"
#include "usb_host_proto.h"

#define MODULE custom_action_layer

#define CUSTOM_ACTION_NUM_LOCK_KEY_ID 1U

static const uint8_t custom_action_slot_by_key_id[] = {
	[5] = 7,
	[6] = 8,
	[7] = 9,
	[8] = 4,
	[9] = 5,
	[10] = 6,
	[12] = 1,
	[13] = 2,
	[14] = 3,
};

static bool custom_action_num_lock_active;
static uint32_t custom_action_consumed_mask;

static void custom_action_clear_consumed(void)
{
	custom_action_consumed_mask = 0U;
}

static uint8_t custom_action_key_id_to_slot(uint16_t key_id)
{
	if (key_id >= ARRAY_SIZE(custom_action_slot_by_key_id)) {
		return 0U;
	}

	return custom_action_slot_by_key_id[key_id];
}

static bool custom_action_link_ready(void)
{
	switch (transport_manager_get_active_mode()) {
	case APP_MODE_USB:
		return usb_host_proto_is_active();

	case APP_MODE_BLE:
		return ble_hid_module_is_enabled() &&
		       ble_hid_module_is_connected() &&
		       ble_host_action_service_is_ready();

	case APP_MODE_24G:
	default:
		return false;
	}
}

static int custom_action_send_slot(uint8_t slot)
{
	switch (transport_manager_get_active_mode()) {
	case APP_MODE_USB:
		return usb_host_proto_send_action_trigger(slot);

	case APP_MODE_BLE:
		return ble_host_action_service_send_trigger(slot);

	case APP_MODE_24G:
	default:
		return -ENOTSUP;
	}
}

int custom_action_layer_init(void)
{
	custom_action_num_lock_active = false;
	custom_action_clear_consumed();
	printk("custom action layer ready\n");
	return 0;
}

void custom_action_layer_set_num_lock(bool enabled)
{
	if (custom_action_num_lock_active == enabled) {
		return;
	}

	custom_action_num_lock_active = enabled;
	custom_action_clear_consumed();
	printk("custom action numlock=%d\n", enabled);
}

bool custom_action_layer_is_num_lock_active(void)
{
	return custom_action_num_lock_active;
}

static bool app_event_handler(const struct app_event_header *aeh)
{
	if (is_mode_changed_event(aeh)) {
		custom_action_clear_consumed();
		return false;
	}

	if (!is_button_event(aeh)) {
		return false;
	}

	const struct button_event *event = cast_button_event(aeh);
	uint8_t slot = custom_action_key_id_to_slot(event->key_id);

	if ((event->key_id == CUSTOM_ACTION_NUM_LOCK_KEY_ID) && event->pressed) {
		custom_action_layer_set_num_lock(!custom_action_num_lock_active);
		return false;
	}

	if (event->key_id == CUSTOM_ACTION_NUM_LOCK_KEY_ID) {
		return false;
	}

	if (slot == 0U) {
		return false;
	}

	if ((custom_action_consumed_mask & BIT(event->key_id)) != 0U) {
		if (!event->pressed) {
			custom_action_consumed_mask &= ~BIT(event->key_id);
		}
		return true;
	}

	if (!event->pressed || !custom_action_num_lock_active || !custom_action_link_ready()) {
		return false;
	}

	if (custom_action_send_slot(slot) != 0) {
		return false;
	}

	custom_action_consumed_mask |= BIT(event->key_id);
	printk("custom action trigger: slot=%u key_id=%u mode=%d\n",
	       slot, event->key_id, transport_manager_get_active_mode());
	return true;
}

APP_EVENT_LISTENER(MODULE, app_event_handler);
APP_EVENT_SUBSCRIBE_EARLY(MODULE, button_event);
APP_EVENT_SUBSCRIBE(MODULE, mode_changed_event);
```

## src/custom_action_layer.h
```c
#ifndef CUSTOM_ACTION_LAYER_H_
#define CUSTOM_ACTION_LAYER_H_

#include <stdbool.h>

int custom_action_layer_init(void);
void custom_action_layer_set_num_lock(bool enabled);
bool custom_action_layer_is_num_lock_active(void);

#endif /* CUSTOM_ACTION_LAYER_H_ */
```

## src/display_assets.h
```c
#ifndef DISPLAY_ASSETS_H_
#define DISPLAY_ASSETS_H_

#include <stdint.h>

struct display_rgb332_bitmap {
	uint16_t width;
	uint16_t height;
	const uint8_t *data;
};

extern const struct display_rgb332_bitmap display_idle_bitmap;

#endif /* DISPLAY_ASSETS_H_ */
```

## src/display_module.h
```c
#ifndef DISPLAY_MODULE_H_
#define DISPLAY_MODULE_H_

int display_module_init(void);

#endif /* DISPLAY_MODULE_H_ */
```

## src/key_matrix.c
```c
#include <errno.h>
#include <stdbool.h>

#include <app_event_manager.h>
#include <caf/events/button_event.h>

#include <zephyr/devicetree.h>
#include <zephyr/drivers/gpio.h>
#include <zephyr/kernel.h>
#include <zephyr/sys/printk.h>
#include <zephyr/sys/util.h>

#include "keymap.h"
#include "key_matrix.h"

#define KEY_MATRIX_NODE DT_NODELABEL(kbd_matrix)
#define KEY_MATRIX_ROWS DT_PROP_LEN(KEY_MATRIX_NODE, row_gpios)
#define KEY_MATRIX_COLS DT_PROP_LEN(KEY_MATRIX_NODE, col_gpios)

BUILD_ASSERT(DT_NODE_EXISTS(KEY_MATRIX_NODE), "kbd_matrix node must exist");

static const struct gpio_dt_spec row_gpios[KEY_MATRIX_ROWS] = {
	DT_FOREACH_PROP_ELEM_SEP(KEY_MATRIX_NODE, row_gpios, GPIO_DT_SPEC_GET_BY_IDX, (,))
};

static const struct gpio_dt_spec col_gpios[KEY_MATRIX_COLS] = {
	DT_FOREACH_PROP_ELEM_SEP(KEY_MATRIX_NODE, col_gpios, GPIO_DT_SPEC_GET_BY_IDX, (,))
};

static const uint16_t key_id_map[KEY_MATRIX_ROWS][KEY_MATRIX_COLS] = {
	{ UINT16_MAX, UINT16_MAX, UINT16_MAX, 0 },
	{ 1, 2, 3, 4 },
	{ 5, 6, 7, UINT16_MAX },
	{ 8, 9, 10, 11 },
	{ 12, 13, 14, UINT16_MAX },
	{ 15, 16, UINT16_MAX, 17 },
};

static uint32_t last_state[KEY_MATRIX_COLS];
static bool scanner_started;

K_THREAD_STACK_DEFINE(key_matrix_stack, 2048);
static struct k_thread key_matrix_thread_data;

static int prepare_rows(void)
{
	for (size_t i = 0; i < ARRAY_SIZE(row_gpios); i++) {
		int ret = gpio_pin_configure(row_gpios[i].port,
					     row_gpios[i].pin,
					     GPIO_INPUT | GPIO_PULL_DOWN);

		if (ret != 0) {
			return ret;
		}
	}

	return 0;
}

static int set_all_cols_input(void)
{
	for (size_t i = 0; i < ARRAY_SIZE(col_gpios); i++) {
		int ret = gpio_pin_configure(col_gpios[i].port, col_gpios[i].pin, GPIO_INPUT);

		if (ret != 0) {
			return ret;
		}
	}

	return 0;
}

static int drive_col_active(size_t col)
{
	int ret = gpio_pin_configure(col_gpios[col].port, col_gpios[col].pin, GPIO_OUTPUT);

	if (ret != 0) {
		return ret;
	}

	return gpio_pin_set_raw(col_gpios[col].port, col_gpios[col].pin, 1);
}

static int scan_once(uint32_t *state)
{
	int ret = prepare_rows();

	if (ret != 0) {
		return ret;
	}

	ret = set_all_cols_input();
	if (ret != 0) {
		return ret;
	}

	for (size_t col = 0; col < ARRAY_SIZE(col_gpios); col++) {
		uint32_t row_bits = 0U;

		ret = drive_col_active(col);
		if (ret != 0) {
			return ret;
		}

		k_busy_wait(50);

		for (size_t row = 0; row < ARRAY_SIZE(row_gpios); row++) {
			int raw = gpio_pin_get_raw(row_gpios[row].port, row_gpios[row].pin);

			if (raw < 0) {
				return raw;
			}

			if (raw != 0) {
				row_bits |= BIT(row);
			}
		}

		state[col] = row_bits;

		ret = gpio_pin_configure(col_gpios[col].port, col_gpios[col].pin, GPIO_INPUT);
		if (ret != 0) {
			return ret;
		}
	}

	return 0;
}

static void report_changes(const uint32_t *state)
{
	for (size_t col = 0; col < ARRAY_SIZE(col_gpios); col++) {
		uint32_t changed = last_state[col] ^ state[col];

		if (changed == 0U) {
			last_state[col] = state[col];
			continue;
		}

		for (size_t row = 0; row < ARRAY_SIZE(row_gpios); row++) {
			if ((changed & BIT(row)) == 0U) {
				continue;
			}

			bool pressed = (state[col] & BIT(row)) != 0U;
			uint16_t key_id = key_id_map[row][col];

			if (key_id == UINT16_MAX) {
				continue;
			}

			struct button_event *event = new_button_event();

			event->key_id = key_id;
			event->pressed = pressed;
			APP_EVENT_SUBMIT(event);

			printk("matrix key %s: id=%u name=%s row=%d col=%d\n",
			       pressed ? "down" : "up", key_id,
			       keymap_name_get(key_id), (int)row, (int)col);
		}

		last_state[col] = state[col];
	}
}

static void key_matrix_thread(void *arg1, void *arg2, void *arg3)
{
	uint32_t state[KEY_MATRIX_COLS];

	ARG_UNUSED(arg1);
	ARG_UNUSED(arg2);
	ARG_UNUSED(arg3);

	printk("matrix scanner started: cols active high, rows pull-down\n");

	while (true) {
		int ret = scan_once(state);

		if (ret != 0) {
			printk("matrix scan error: %d\n", ret);
			k_sleep(K_MSEC(200));
			continue;
		}

		report_changes(state);
		k_sleep(K_MSEC(15));
	}
}

int key_matrix_init(void)
{
	for (size_t i = 0; i < ARRAY_SIZE(row_gpios); i++) {
		if (!gpio_is_ready_dt(&row_gpios[i])) {
			printk("row gpio %d is not ready\n", (int)i);
			return -ENODEV;
		}
	}

	for (size_t i = 0; i < ARRAY_SIZE(col_gpios); i++) {
		if (!gpio_is_ready_dt(&col_gpios[i])) {
			printk("col gpio %d is not ready\n", (int)i);
			return -ENODEV;
		}
	}

	if (!scanner_started) {
		scanner_started = true;
		k_thread_create(&key_matrix_thread_data,
				key_matrix_stack,
				K_THREAD_STACK_SIZEOF(key_matrix_stack),
				key_matrix_thread,
				NULL, NULL, NULL,
				5, 0, K_NO_WAIT);
	}

	printk("key matrix ready: rows=%d cols=%d\n", KEY_MATRIX_ROWS, KEY_MATRIX_COLS);
	printk("scan mode: cols active high, rows pull-down\n");
	printk("RTT test: press any key to print row/col\n");

	return 0;
}
```
